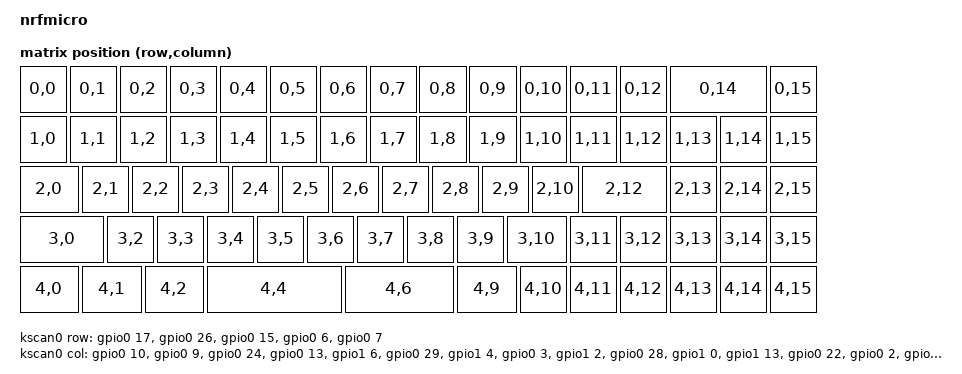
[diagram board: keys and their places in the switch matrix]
/*
 * Copyright (c) 2020 The ZMK Contributors
 *
 * SPDX-License-Identifier: MIT
 */

#include <dt-bindings/zmk/matrix_transform.h>
#include <physical_layouts.dtsi>
#include <dt-bindings/led/led.h>

/ {
    layout: layout {
        compatible = "zmk,physical-layout";
        display-name = "LAYOUT";
        transform = <&default_transform>;
        keys  //                     w   h    x    y     rot    rx    ry
            = <&key_physical_attrs 100 100    0    0       0     0     0>
            , <&key_physical_attrs 100 100  100    0       0     0     0>
            , <&key_physical_attrs 100 100  200    0       0     0     0>
            , <&key_physical_attrs 100 100  300    0       0     0     0>
            , <&key_physical_attrs 100 100  400    0       0     0     0>
            , <&key_physical_attrs 100 100  500    0       0     0     0>
            , <&key_physical_attrs 100 100  600    0       0     0     0>
            , <&key_physical_attrs 100 100  700    0       0     0     0>
            , <&key_physical_attrs 100 100  800    0       0     0     0>
            , <&key_physical_attrs 100 100  900    0       0     0     0>
            , <&key_physical_attrs 100 100 1000    0       0     0     0>
            , <&key_physical_attrs 100 100 1100    0       0     0     0>
            , <&key_physical_attrs 100 100 1200    0       0     0     0>
            , <&key_physical_attrs 200 100 1300    0       0     0     0>
            , <&key_physical_attrs 100 100 1500    0       0     0     0>
            , <&key_physical_attrs 100 100    0  100       0     0     0>
            , <&key_physical_attrs 100 100  100  100       0     0     0>
            , <&key_physical_attrs 100 100  200  100       0     0     0>
            , <&key_physical_attrs 100 100  300  100       0     0     0>
            , <&key_physical_attrs 100 100  400  100       0     0     0>
            , <&key_physical_attrs 100 100  500  100       0     0     0>
            , <&key_physical_attrs 100 100  600  100       0     0     0>
            , <&key_physical_attrs 100 100  700  100       0     0     0>
            , <&key_physical_attrs 100 100  800  100       0     0     0>
            , <&key_physical_attrs 100 100  900  100       0     0     0>
            , <&key_physical_attrs 100 100 1000  100       0     0     0>
            , <&key_physical_attrs 100 100 1100  100       0     0     0>
            , <&key_physical_attrs 100 100 1200  100       0     0     0>
            , <&key_physical_attrs 100 100 1300  100       0     0     0>
            , <&key_physical_attrs 100 100 1400  100       0     0     0>
            , <&key_physical_attrs 100 100 1500  100       0     0     0>
            , <&key_physical_attrs 125 100    0  200       0     0     0>
            , <&key_physical_attrs 100 100  125  200       0     0     0>
            , <&key_physical_attrs 100 100  225  200       0     0     0>
            , <&key_physical_attrs 100 100  325  200       0     0     0>
            , <&key_physical_attrs 100 100  425  200       0     0     0>
            , <&key_physical_attrs 100 100  525  200       0     0     0>
            , <&key_physical_attrs 100 100  625  200       0     0     0>
            , <&key_physical_attrs 100 100  725  200       0     0     0>
            , <&key_physical_attrs 100 100  825  200       0     0     0>
            , <&key_physical_attrs 100 100  925  200       0     0     0>
            , <&key_physical_attrs 100 100 1025  200       0     0     0>
            , <&key_physical_attrs 175 100 1125  200       0     0     0>
            , <&key_physical_attrs 100 100 1300  200       0     0     0>
            , <&key_physical_attrs 100 100 1400  200       0     0     0>
            , <&key_physical_attrs 100 100 1500  200       0     0     0>
            , <&key_physical_attrs 175 100    0  300       0     0     0>
            , <&key_physical_attrs 100 100  175  300       0     0     0>
            , <&key_physical_attrs 100 100  275  300       0     0     0>
            , <&key_physical_attrs 100 100  375  300       0     0     0>
            , <&key_physical_attrs 100 100  475  300       0     0     0>
            , <&key_physical_attrs 100 100  575  300       0     0     0>
            , <&key_physical_attrs 100 100  675  300       0     0     0>
            , <&key_physical_attrs 100 100  775  300       0     0     0>
            , <&key_physical_attrs 100 100  875  300       0     0     0>
            , <&key_physical_attrs 125 100  975  300       0     0     0>
            , <&key_physical_attrs 100 100 1100  300       0     0     0>
            , <&key_physical_attrs 100 100 1200  300       0     0     0>
            , <&key_physical_attrs 100 100 1300  300       0     0     0>
            , <&key_physical_attrs 100 100 1400  300       0     0     0>
            , <&key_physical_attrs 100 100 1500  300       0     0     0>
            , <&key_physical_attrs 125 100    0  400       0     0     0>
            , <&key_physical_attrs 125 100  125  400       0     0     0>
            , <&key_physical_attrs 125 100  250  400       0     0     0>
            , <&key_physical_attrs 275 100  375  400       0     0     0>
            , <&key_physical_attrs 225 100  650  400       0     0     0>
            , <&key_physical_attrs 125 100  875  400       0     0     0>
            , <&key_physical_attrs 100 100 1000  400       0     0     0>
            , <&key_physical_attrs 100 100 1100  400       0     0     0>
            , <&key_physical_attrs 100 100 1200  400       0     0     0>
            , <&key_physical_attrs 100 100 1300  400       0     0     0>
            , <&key_physical_attrs 100 100 1400  400       0     0     0>
            , <&key_physical_attrs 100 100 1500  400       0     0     0>
            ;
    };

      position_map {
        compatible = "zmk,physical-layout-position-map";

        layout {
            physical-layout = <&layout>;
            positions = <>;
        };
    };

    chosen {
        zmk,kscan = &kscan0;
        zmk,matrix_transform = &default_transform;
        zmk,underglow = &led_strip;
        zephyr,bt-c2h-uart = &uart0; 
        zephyr,console = &uart0;  // 添加这行
        zephyr,shell-uart = &uart0;  // 添加这行
    };


    kscan0: kscan {
        compatible = "zmk,kscan-gpio-matrix";
        label = "KSCAN";

        diode-direction = "row2col";
        col-gpios
            = <&gpio0 10 (GPIO_ACTIVE_HIGH | GPIO_PULL_DOWN)>
            , <&gpio0 9  (GPIO_ACTIVE_HIGH | GPIO_PULL_DOWN)>
            , <&gpio0 24  (GPIO_ACTIVE_HIGH  | GPIO_PULL_DOWN)>
            , <&gpio0 13  (GPIO_ACTIVE_HIGH | GPIO_PULL_DOWN)>
            , <&gpio1 6 (GPIO_ACTIVE_HIGH  | GPIO_PULL_DOWN)>
            , <&gpio0 29 (GPIO_ACTIVE_HIGH | GPIO_PULL_DOWN)>
            , <&gpio1 4 (GPIO_ACTIVE_HIGH | GPIO_PULL_DOWN)>
            , <&gpio0 3 (GPIO_ACTIVE_HIGH  | GPIO_PULL_DOWN)>
            , <&gpio1 2  (GPIO_ACTIVE_HIGH | GPIO_PULL_DOWN)>
            , <&gpio0 28 (GPIO_ACTIVE_HIGH  | GPIO_PULL_DOWN)>
            , <&gpio1 0 (GPIO_ACTIVE_HIGH | GPIO_PULL_DOWN)>
            , <&gpio1 13 (GPIO_ACTIVE_HIGH | GPIO_PULL_DOWN)>
            , <&gpio0 22 (GPIO_ACTIVE_HIGH  | GPIO_PULL_DOWN)>
            , <&gpio0 2  (GPIO_ACTIVE_HIGH | GPIO_PULL_DOWN)>
            , <&gpio0 20 (GPIO_ACTIVE_HIGH  | GPIO_PULL_DOWN)>
            , <&gpio0 12 (GPIO_ACTIVE_HIGH  | GPIO_PULL_DOWN)>
            ;
        row-gpios
            = <&gpio0 17 GPIO_ACTIVE_HIGH>
            , <&gpio0 26 GPIO_ACTIVE_HIGH>
            , <&gpio0 15 GPIO_ACTIVE_HIGH>
            , <&gpio0 6 GPIO_ACTIVE_HIGH>
            , <&gpio0 7 GPIO_ACTIVE_HIGH>
            ;
    };

    default_transform: keymap_transform_0 {
        compatible = "zmk,matrix-transform";
        columns = <16>;
        rows = <5>;
        map = <
            RC(0,0) RC(0,1) RC(0,2) RC(0,3) RC(0,4) RC(0,5) RC(0,6) RC(0,7) RC(0,8) RC(0,9) RC(0,10) RC(0,11) RC(0,12)          RC(0,14) RC(0,15)    
            RC(1,0) RC(1,1) RC(1,2) RC(1,3) RC(1,4) RC(1,5) RC(1,6) RC(1,7) RC(1,8) RC(1,9) RC(1,10) RC(1,11) RC(1,12) RC(1,13) RC(1,14) RC(1,15)  
            RC(2,0) RC(2,1) RC(2,2) RC(2,3) RC(2,4) RC(2,5) RC(2,6) RC(2,7) RC(2,8) RC(2,9) RC(2,10)          RC(2,12) RC(2,13) RC(2,14) RC(2,15)
            RC(3,0)         RC(3,2) RC(3,3) RC(3,4) RC(3,5) RC(3,6) RC(3,7) RC(3,8) RC(3,9) RC(3,10) RC(3,11) RC(3,12) RC(3,13) RC(3,14) RC(3,15)
            RC(4,0) RC(4,1) RC(4,2)         RC(4,4)         RC(4,6)                 RC(4,9) RC(4,10) RC(4,11) RC(4,12) RC(4,13) RC(4,14) RC(4,15)       
        >;
    };
};


&zephyr_udc0 {
    compatible = "nordic,nrf-usbd"; 
    status = "okay"; 
};



&pinctrl {
    spi3_default: spi3_default {
        group1 {
            psels = <NRF_PSEL(SPIM_MOSI, 0, 30)>;
        };
    };

    spi3_sleep: spi3_sleep {
        group1 {
            psels = <NRF_PSEL(SPIM_MOSI, 0, 30)>;
            low-power-enable;
        };
    };
};

&spi3 {
    compatible = "nordic,nrf-spim";
    status = "okay";

    pinctrl-0 = <&spi3_default>;
    pinctrl-1 = <&spi3_sleep>;
    pinctrl-names = "default", "sleep";

    led_strip: ws2812@0 {
        compatible = "worldsemi,ws2812-spi";
        label = "WS2812";

        /* SPI */
        reg = <0>; /* ignored, but necessary for SPI bindings */
        spi-max-frequency = <4000000>;

        /* WS2812 */
        chain-length = <73>; /* arbitrary; change at will */
        spi-one-frame = <0x70>;
        spi-zero-frame = <0x40>;

        color-mapping = <
            LED_COLOR_ID_GREEN
            LED_COLOR_ID_RED
            LED_COLOR_ID_BLUE
        >;
    };
};
/ {
    chosen {
        zmk,underglow = &led_strip;
    };
};

// 在文件末尾添加以下内容
&zephyr_udc0 {
    compatible = "nordic,nrf-usbd";
    status = "okay";
    
    cdc_acm_uart0: cdc_acm_uart0 {
        compatible = "zephyr,cdc-acm-uart";
    };
};

/ {
    chosen {
        // 添加这些 CDC ACM 配置
        zephyr,console = &cdc_acm_uart0;
        zephyr,shell-uart = &cdc_acm_uart0;
        zephyr,uart-mcumgr = &cdc_acm_uart0;
    };
};


/ {
    chosen {
        zephyr,console = &cdc_acm_uart;
        zephyr,shell-uart = &cdc_acm_uart;
        zephyr,uart-mcumgr = &cdc_acm_uart;
    };
};

&zephyr_udc0 {
    cdc_acm_uart: cdc_acm_uart {
        compatible = "zephyr,cdc-acm-uart";
    };
};

/ {
    model = "nrfmicro";
    compatible = "joric,nrfmicro";

    chosen {
        zephyr,code-partition = &code_partition;
        zephyr,sram = &sram0;
        zephyr,flash = &flash0;
        zephyr,console = &cdc_acm_uart;
        zmk,battery = &vbatt;
    };

    leds {
        compatible = "gpio-leds";
        blue_led: led_0 {
            gpios = <&gpio1 10 GPIO_ACTIVE_HIGH>;
            label = "Blue LED";
        };
    };

    ext-power {
        compatible = "zmk,ext-power-generic";
        label = "EXT_POWER";
        control-gpios = <&gpio0 5 GPIO_ACTIVE_LOW>;
    };

    vbatt: vbatt {
        compatible = "zmk,battery-voltage-divider";
        label = "BATTERY";
        io-channels = <&adc 2>;
        output-ohms = <2000000>;
        full-ohms = <(2000000 + 820000)>;
    };
};



/*
 * KEYMAP with USB configuration
 */

/ {
    chosen {
        cdc_acm_uart = &cdc_acm_uart;
    };

    cdc_acm_uart: cdc_acm_uart {
        compatible = "zephyr,cdc-acm-uart";
        label = "CDC_ACM_0";
    };
};
